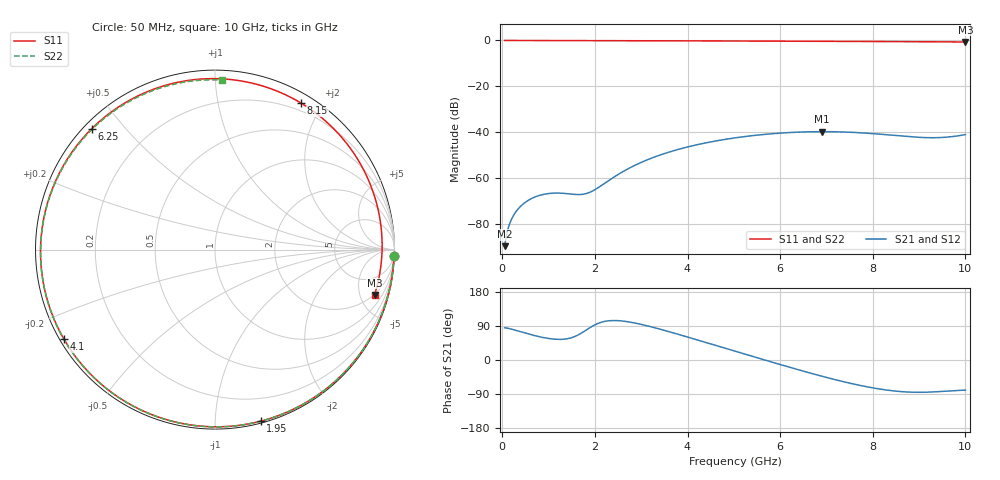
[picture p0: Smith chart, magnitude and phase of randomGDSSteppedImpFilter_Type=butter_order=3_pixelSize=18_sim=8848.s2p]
! freq	dB(S11)	phase(S11)	dB(S12)	phase(S12)
!  dB(S21)	phase(S21)	dB(S22)	phase(S22)
!S-par simulation data
#  GHz  S  DB  R 50
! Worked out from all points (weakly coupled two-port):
!   200 points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, 50 MHz to 10 GHz, reference 50 ohm
!   highest |S21| = -39.71 dB at 6.9 GHz (marker M1); lowest = -89.6 dB at 50 MHz (marker M2)
!   lowest |S11| = -0.7 dB at 10 GHz (marker M3), VSWR 25.27, Z = 96.4 - j332 ohm
!   |S11| at or under -10 dB: nowhere
!   |S22| runs from -0.5 to 0.0 dB; largest |S21 - S12| = 0
!   S11 on the Smith chart (normalised r, x): 50 MHz: 2, -60; 1.95 GHz: 0.01, -1.30; 4.1 GHz: 0.01, -0.27; 6.25 GHz: 0.02, +0.41; 8.15 GHz: 0.11, +1.74; 10 GHz: 1.93, -6.64
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0.05  -0.01 -1.9  -89.59 84.9  -89.59 84.9  -0.02 -1.9
0.15  -0.02 -5.9  -80.26 83.0  -80.26 83.0  -0.02 -5.8
0.3  -0.02 -11.9  -74.44 77.9  -74.44 77.9  -0.03 -11.7
0.45  -0.03 -17.8  -71.24 72.6  -71.24 72.6  -0.03 -17.5
0.75  -0.04 -29.6  -67.84 62.9  -67.84 62.9  -0.04 -29.0
1.1  -0.05 -43.2  -66.49 55.3  -66.49 55.3  -0.05 -42.1
1.75  -0.08 -67.7  -66.96 74.1  -66.96 74.1  -0.08 -65.2
1.95  -0.09 -75.1  -65.56 89.5  -65.56 89.5  -0.09 -72.0
2.65  -0.12 -100.0  -56.62 102.0  -56.62 102.0  -0.11 -94.3
3.4  -0.16 -125.8  -49.94 81.6  -49.94 81.6  -0.13 -116.0
4.1  -0.19 -149.3  -45.90 57.0  -45.90 57.0  -0.16 -134.5
5.05  -0.25 178.5  -42.36 22.3  -42.36 22.3  -0.20 -157.7
5.65  -0.29 157.5  -40.94 0.6  -40.94 0.6  -0.23 -171.6
6.25  -0.34 135.7  -40.06 -20.8  -40.06 -20.8  -0.26 174.8
6.7  -0.37 118.5  -39.75 -36.2  -39.75 -36.2  -0.29 164.7
6.9  -0.38 110.7  -39.71 -42.8  -39.71 -42.8  -0.30 160.3
7.55  -0.43 84.5  -40.02 -62.5  -40.02 -62.5  -0.34 145.6
8.15  -0.48 59.6  -40.81 -76.7  -40.81 -76.7  -0.38 132.0
8.35  -0.49 51.2  -41.16 -80.1  -41.16 -80.1  -0.39 127.3
8.8  -0.53 32.3  -41.93 -84.8  -41.93 -84.8  -0.42 116.8
9.2  -0.57 15.8  -42.35 -84.8  -42.35 -84.8  -0.44 107.2
10  -0.69 -15.8  -41.01 -79.5  -41.01 -79.5  -0.48 87.6
